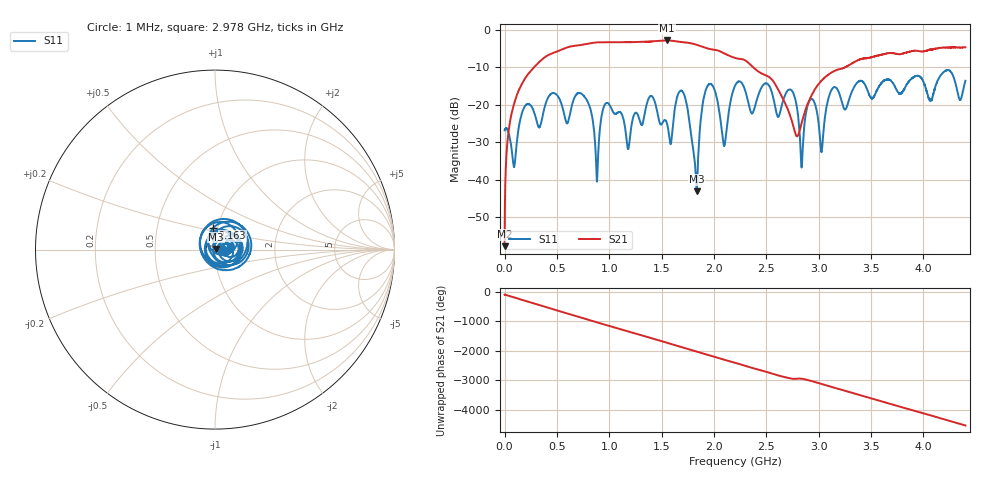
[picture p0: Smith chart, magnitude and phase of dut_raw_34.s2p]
!Created with skrf (http://scikit-rf.org).
# Hz S RI R 50.0
!freq ReS11 ImS11 ReS21 ImS21 ReS12 ImS12 ReS22 ImS22
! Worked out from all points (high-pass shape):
!   4400 points, 1 MHz to 4.4 GHz, reference 50 ohm
!   highest |S21| = -2.79 dB at 1.551 GHz (marker M1); lowest = -57.7 dB at 1 MHz (marker M2)
!   |S21| within 3 dB of the highest: 495.6 MHz to 2.064 GHz (1.568 GHz wide, 123 % of centre); 3.867 GHz to end of sweep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
!   lowest |S11| = -43.1 dB at 1.835 GHz (marker M3), VSWR 1.01, Z = 50.6 + j0.428 ohm
!   |S11| at or under -10 dB: start of sweep to end of sweep
!   S12 and S22 are empty: the file has one direction only
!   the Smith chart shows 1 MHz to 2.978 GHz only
!   S11 on the Smith chart (normalised r, x): 1 MHz: 1.10, +0.00; 2.163 GHz: 0.95, +0.23; 2.978 GHz: 1.19, +0.03
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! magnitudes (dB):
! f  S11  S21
! 1 MHz  -26.8  -57.7
! 43 MHz  -27.9  -26.3
! 147 MHz  -24.4  -15.5
! 735 MHz  -17.0  -4.0
! 882 MHz  -40.5  -3.3
! 971 MHz  -19.5  -3.3
! 1.18 GHz  -31.8  -3.2
! 1.468 GHz  -23.2  -2.9
! 1.551 GHz  -24.9  -2.8
! 1.702 GHz  -16.6  -3.3
! 1.835 GHz  -43.1  -4.0
! 1.934 GHz  -15.2  -4.9
! 2.095 GHz  -30.8  -6.2
! 2.163 GHz  -18.3  -7.1
! 2.201 GHz  -14.9  -7.5
! 2.738 GHz  -16.0  -23.9
! 2.837 GHz  -36.7  -24.8
! 2.934 GHz  -18.4  -17.3
! 2.978 GHz  -21.3  -15.2
! 3.027 GHz  -32.7  -13.5
! 3.667 GHz  -13.2  -6.2
! 4.4 GHz  -13.6  -4.6
